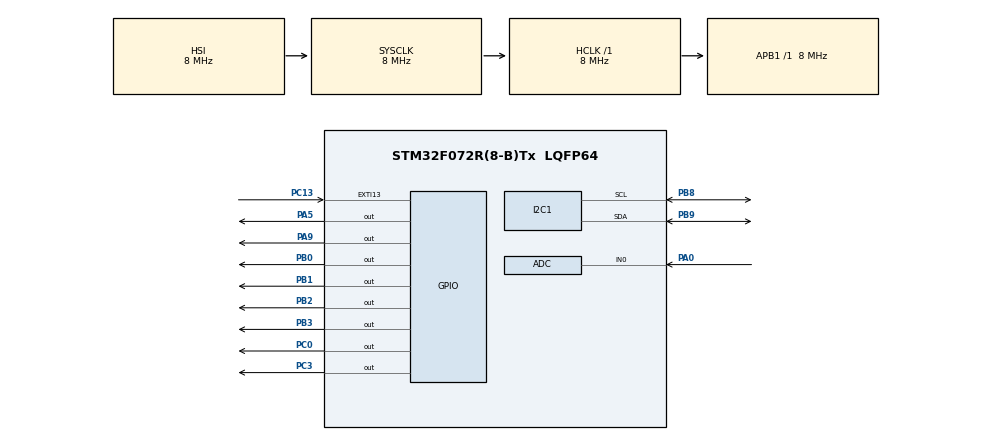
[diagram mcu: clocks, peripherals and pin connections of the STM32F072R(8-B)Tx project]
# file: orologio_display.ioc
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Mcu.Family=STM32F0
Mcu.Name=STM32F072R(8-B)Tx
Mcu.Package=LQFP64
NVIC.ADC1_COMP_IRQn=true\:0\:0\:false\:false\:true\:true\:true
NVIC.EXTI4_15_IRQn=true\:0\:0\:false\:false\:true\:true\:true
NVIC.I2C1_IRQn=true\:0\:0\:false\:false\:true\:true\:true
NVIC.TIM7_IRQn=true\:0\:0\:false\:false\:true\:true\:true
PA0.Mode=IN0
PA0.Signal=ADC_IN0
PA5.Signal=GPIO_Output
PA9.Signal=GPIO_Output
PB0.Signal=GPIO_Output
PB1.Signal=GPIO_Output
PB2.Signal=GPIO_Output
PB3.Signal=GPIO_Output
PB8.Mode=I2C
PB8.Signal=I2C1_SCL
PB9.Mode=I2C
PB9.Signal=I2C1_SDA
PC0.Signal=GPIO_Output
PC13.Signal=GPXTI13
PC3.Signal=GPIO_Output
ProjectManager.HeapSize=0x200
ProjectManager.StackSize=0x400
ProjectManager.TargetToolchain=MDK-ARM V5.27
RCC.AHBFreq_Value=8000000
RCC.APB1Freq_Value=8000000
RCC.APB1TimFreq_Value=8000000
RCC.HCLKFreq_Value=8000000
RCC.SYSCLKFreq_VALUE=8000000
TIM7.Period=8000
VP_TIM7_VS_ClockSourceINT.Mode=Enable_Timer
board=custom

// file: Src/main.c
/* USER CODE BEGIN Header */
/**
  ******************************************************************************
  * @file           : main.c
  * @brief          : Main program body
  ******************************************************************************
  * @attention
  *
  * <h2><center>&copy; Copyright (c) 2019 STMicroelectronics.
  * All rights reserved.</center></h2>
  *
  * This software component is licensed by ST under BSD 3-Clause license,
  * the "License"; You may not use this file except in compliance with the
  * License. You may obtain a copy of the License at:
  *                        opensource.org/licenses/BSD-3-Clause
  *
  ******************************************************************************
  */
/* USER CODE END Header */

#include "main.h"

/* USER CODE BEGIN PTD */
#define LCD_ADDRESS (0X3E<<1) //indirizzo lcd, ruotato a sx per lasciare bit di r/w
#define LM76_ADDRESS (0X48<<1) //indirizzo termometro

int ora[]={2,0,1,9,1,1,2,3,1,9,2,8,0,0};
int hour,resto,day,month,year;
extern int wait,loops;
char msg[]={'.','.',':','.','.',':','.','.'};
char msg_2[]={'.','.','/','.','.','/','.','.','.','.'};
char * puntatore;
int change_big_date=0;
int bisestile=0;
int lenght_da_trasmettere;
//uint8_t initdata[]={0x38,0x39,0x14,0x74,0x54,0x6F,0x0F,0x01};
char initdata[]={0x00,0x38,0x00,0x39,0x00,0x14,0x00,0x74,0x00,0x54,0x00,0x6F,0x00,0x0F,0x00,0x01};
//int j=8;
int NBYTES =(2<<16);
extern int j;
//anno, mese,giorno,ore,minuti, secondi

void incrementa(){
	if(ora[13]==9){
		//cifra meno significativa dei secondi
		ora[13]=0;
		//aumento ora[12]
		if(ora[12]==5){
			//cifra piu significativa dei secondi
			ora[12]=0;
			//aumento ora[11]
			if(ora[11]==9){
				//cifra meno significativa dei minuti
				ora[11]=0;
				//aumento ora[10]
				if(ora[10]==5){
					//cifra piu significativa dei minuti
					ora[10]=0;
					//aumento di un'ora
					hour=ora[9]+ora[8]*10;
					if(hour==23){
						ora[9]=0;
						ora[8]=0;
						//aumento di un giorno
						change_big_date=1;
						day=ora[7]+ora[6]*10;
						month=ora[5]+ora[4]*10;
						year=ora[0]*1000+ora[1]*100+ora[2]*10+ora[3];
						if((year%100==0 && year%400==0)||(year%100!=0 && year%4==0)){
							bisestile=1;
						}
						if((day==31 && (month==1|| month==3 || month==5 || month==7 || month==8 || month==10 || month==12))||
							(day==30 &&(month==4|| month==6 || month==9 || month==11))||(day==28 && month==2 && !bisestile)||
						(day==29 && month==2 && bisestile)){
							ora[6]=0;
							ora[7]=1;
							//aumento il il mese
							if(month==12){
								ora[4]=0;
								ora[5]=1;
								//aumento l'anno
								year++;
								//scompongo year su ora
								ora[0]=(int)year/1000;
								resto=year%1000;
								ora[1]=(int)(resto*10)/1000;
								resto=(resto*10)%1000;
								ora[2]=(int)(resto*10)/1000;
								resto=(resto*10)%1000;
								ora[3]=(int)(resto*10)/1000;
							}
							else{
								month++;
								ora[4]=(int)month/10;
								resto=month%10;
								ora[5]=(int)(resto*10)/10;
							}
						}
						else{
							day++;
							ora[6]=(int)day/10;
							resto=day%10;
							ora[7]=(int)(resto*10)/10;
						}
					}
					else{
						hour++;
						ora[8]=(int)hour/10;
						resto=hour%10;
						ora[9]=(int)(resto*10)/10;
					}
				}
				else{
					ora[10]++;
				}
			}
			else{
				ora[11]++;
			}
		}
		else{
			ora[12]++;
		}
	}
	else{
		ora[13]++;
	}
}

void wait_tim(){
	wait=1;
	TIM7->CNT=0;
	TIM7->SR=0;
	TIM7->CR1|=TIM_CR1_CEN;
	while(wait){}
}
/* USER CODE END PTD */

ADC_HandleTypeDef hadc;

I2C_HandleTypeDef hi2c1;

TIM_HandleTypeDef htim7;

void SystemClock_Config(void);
static void MX_GPIO_Init(void);
static void MX_ADC_Init(void);
static void MX_I2C1_Init(void);
static void MX_TIM7_Init(void);

int main(void)
{

  /* MCU Configuration--------------------------------------------------------*/

  /* Reset of all peripherals, Initializes the Flash interface and the Systick. */
  HAL_Init();

  /* Configure the system clock */
  SystemClock_Config();

  /* Initialize all configured peripherals */
  MX_GPIO_Init();
  MX_ADC_Init();
  MX_I2C1_Init();
  MX_TIM7_Init();
  /* USER CODE BEGIN 2 */

	TIM7->SR=0;
	//TIM7->DIER|=TIM_DIER_UIE;
	ADC1->IER|=ADC_IER_ADRDYIE;

	//abilito e configuro l'adc
	//se fosse già abilitato lo disabilito per fare la calibrazione
	if ((ADC1->CR & ADC_CR_ADEN) != 0)
	{
		ADC1->CR |= ADC_CR_ADDIS;
	}
	//aspetto che non sia piu enable
	while ((ADC1->CR & ADC_CR_ADEN) != 0){}
	//faccio la calibrazione
	ADC1->CR|=ADC_CR_ADCAL;
	//ed aspetto che abbia finito
	while((ADC1->CR & ADC_CR_ADCAL)==ADC_CR_ADCAL){}
	//se adrdy fosse 1 la metto a 0
	if ((ADC1->ISR & ADC_ISR_ADRDY) != 0)
	{
		ADC1->ISR |= ADC_ISR_ADRDY;
	}
	//abilito
	ADC1->CR|=ADC_CR_ADEN;

	loops=10;
	while(loops>0){
		TIM7->CNT=0;
		TIM7->SR=0;
		TIM7->CR1|=TIM_CR1_CEN;
		while(TIM7->SR==0){}
		loops--;
	}
	GPIOA->ODR |= GPIO_ODR_5;
	loops=10;
	while(loops>0){
		TIM7->CNT=0;
		TIM7->SR=0;
		TIM7->CR1|=TIM_CR1_CEN;
		while(TIM7->SR==0){}
		loops--;
	}

	msg_2[0]=ora[6]+'0';
	msg_2[1]=ora[7]+'0';
	msg_2[3]=ora[4]+'0';
	msg_2[4]=ora[5]+'0';
	msg_2[6]=ora[0]+'0';
	msg_2[7]=ora[1]+'0';
	msg_2[8]=ora[2]+'0';
	msg_2[9]=ora[3]+'0';
	puntatore=msg_2;
	lenght_da_trasmettere=10;

	I2C1->CR1|=I2C_CR1_RXIE;
	I2C1->CR1|=I2C_CR1_TXIE;
	I2C1->CR2|=I2C_CR2_AUTOEND;
	I2C1->CR1|=I2C_CR1_STOPIE;

	I2C1->CR2 |= NBYTES; //Setta il registro degli NBYTES al valore stabilito
	I2C1->CR2 |= LCD_ADDRESS; //Dà l'indirizzo dello schermo al microcontrollore
	I2C1->CR2 |= I2C_CR2_START; //Dà lo start-bit
  /* USER CODE END 2 */

  /* Infinite loop */
  /* USER CODE BEGIN WHILE */
  while (1)
  {
		/*loops=10;
		while(loops>0){
			TIM7->CNT=0;
			TIM7->SR=0;
			TIM7->CR1|=TIM_CR1_CEN;
			while(TIM7->SR==0){}
			loops--;
	}
		incrementa();*/
    /* USER CODE END WHILE */

  }
}

void SystemClock_Config(void)
{
  RCC_OscInitTypeDef RCC_OscInitStruct = {0};
  RCC_ClkInitTypeDef RCC_ClkInitStruct = {0};
  RCC_PeriphCLKInitTypeDef PeriphClkInit = {0};

  /** Initializes the CPU, AHB and APB busses clocks
  */
  RCC_OscInitStruct.OscillatorType = RCC_OSCILLATORTYPE_HSI|RCC_OSCILLATORTYPE_HSI14;
  RCC_OscInitStruct.HSIState = RCC_HSI_ON;
  RCC_OscInitStruct.HSI14State = RCC_HSI14_ON;
  RCC_OscInitStruct.HSICalibrationValue = RCC_HSICALIBRATION_DEFAULT;
  RCC_OscInitStruct.HSI14CalibrationValue = 16;
  RCC_OscInitStruct.PLL.PLLState = RCC_PLL_NONE;
  if (HAL_RCC_OscConfig(&RCC_OscInitStruct) != HAL_OK)
  {
    Error_Handler();
  }
  /** Initializes the CPU, AHB and APB busses clocks
  */
  RCC_ClkInitStruct.ClockType = RCC_CLOCKTYPE_HCLK|RCC_CLOCKTYPE_SYSCLK
                              |RCC_CLOCKTYPE_PCLK1;
  RCC_ClkInitStruct.SYSCLKSource = RCC_SYSCLKSOURCE_HSI;
  RCC_ClkInitStruct.AHBCLKDivider = RCC_SYSCLK_DIV1;
  RCC_ClkInitStruct.APB1CLKDivider = RCC_HCLK_DIV1;

  if (HAL_RCC_ClockConfig(&RCC_ClkInitStruct, FLASH_LATENCY_0) != HAL_OK)
  {
    Error_Handler();
  }
  PeriphClkInit.PeriphClockSelection = RCC_PERIPHCLK_I2C1;
  PeriphClkInit.I2c1ClockSelection = RCC_I2C1CLKSOURCE_HSI;
  if (HAL_RCCEx_PeriphCLKConfig(&PeriphClkInit) != HAL_OK)
  {
    Error_Handler();
  }
}

static void MX_ADC_Init(void)
{

  ADC_ChannelConfTypeDef sConfig = {0};

  /** Configure the global features of the ADC (Clock, Resolution, Data Alignment and number of conversion)
  */
  hadc.Instance = ADC1;
  hadc.Init.ClockPrescaler = ADC_CLOCK_ASYNC_DIV1;
  hadc.Init.Resolution = ADC_RESOLUTION_12B;
  hadc.Init.DataAlign = ADC_DATAALIGN_RIGHT;
  hadc.Init.ScanConvMode = ADC_SCAN_DIRECTION_FORWARD;
  hadc.Init.EOCSelection = ADC_EOC_SINGLE_CONV;
  hadc.Init.LowPowerAutoWait = DISABLE;
  hadc.Init.LowPowerAutoPowerOff = DISABLE;
  hadc.Init.ContinuousConvMode = DISABLE;
  hadc.Init.DiscontinuousConvMode = DISABLE;
  hadc.Init.ExternalTrigConv = ADC_SOFTWARE_START;
  hadc.Init.ExternalTrigConvEdge = ADC_EXTERNALTRIGCONVEDGE_NONE;
  hadc.Init.DMAContinuousRequests = DISABLE;
  hadc.Init.Overrun = ADC_OVR_DATA_PRESERVED;
  if (HAL_ADC_Init(&hadc) != HAL_OK)
  {
    Error_Handler();
  }
  /** Configure for the selected ADC regular channel to be converted.
  */
  sConfig.Channel = ADC_CHANNEL_0;
  sConfig.Rank = ADC_RANK_CHANNEL_NUMBER;
  sConfig.SamplingTime = ADC_SAMPLETIME_1CYCLE_5;
  if (HAL_ADC_ConfigChannel(&hadc, &sConfig) != HAL_OK)
  {
    Error_Handler();
  }

}

static void MX_I2C1_Init(void)
{

  hi2c1.Instance = I2C1;
  hi2c1.Init.Timing = 0x2000090E;
  hi2c1.Init.OwnAddress1 = 0;
  hi2c1.Init.AddressingMode = I2C_ADDRESSINGMODE_7BIT;
  hi2c1.Init.DualAddressMode = I2C_DUALADDRESS_DISABLE;
  hi2c1.Init.OwnAddress2 = 0;
  hi2c1.Init.OwnAddress2Masks = I2C_OA2_NOMASK;
  hi2c1.Init.GeneralCallMode = I2C_GENERALCALL_DISABLE;
  hi2c1.Init.NoStretchMode = I2C_NOSTRETCH_DISABLE;
  if (HAL_I2C_Init(&hi2c1) != HAL_OK)
  {
    Error_Handler();
  }
  /** Configure Analogue filter
  */
  if (HAL_I2CEx_ConfigAnalogFilter(&hi2c1, I2C_ANALOGFILTER_ENABLE) != HAL_OK)
  {
    Error_Handler();
  }
  /** Configure Digital filter
  */
  if (HAL_I2CEx_ConfigDigitalFilter(&hi2c1, 0) != HAL_OK)
  {
    Error_Handler();
  }

}

static void MX_TIM7_Init(void)
{

  TIM_MasterConfigTypeDef sMasterConfig = {0};

  htim7.Instance = TIM7;
  htim7.Init.Prescaler = 0;
  htim7.Init.CounterMode = TIM_COUNTERMODE_UP;
  htim7.Init.Period = 8000;
  htim7.Init.AutoReloadPreload = TIM_AUTORELOAD_PRELOAD_DISABLE;
  if (HAL_TIM_Base_Init(&htim7) != HAL_OK)
  {
    Error_Handler();
  }
  sMasterConfig.MasterOutputTrigger = TIM_TRGO_RESET;
  sMasterConfig.MasterSlaveMode = TIM_MASTERSLAVEMODE_DISABLE;
  if (HAL_TIMEx_MasterConfigSynchronization(&htim7, &sMasterConfig) != HAL_OK)
  {
    Error_Handler();
  }

}

static void MX_GPIO_Init(void)
{
  GPIO_InitTypeDef GPIO_InitStruct = {0};

  /* GPIO Ports Clock Enable */
  __HAL_RCC_GPIOC_CLK_ENABLE();
  __HAL_RCC_GPIOA_CLK_ENABLE();
  __HAL_RCC_GPIOB_CLK_ENABLE();

  /*Configure GPIO pin Output Level */
  HAL_GPIO_WritePin(GPIOC, GPIO_PIN_0|GPIO_PIN_3, GPIO_PIN_RESET);

  /*Configure GPIO pin Output Level */
  HAL_GPIO_WritePin(GPIOA, GPIO_PIN_5|GPIO_PIN_9, GPIO_PIN_RESET);

  /*Configure GPIO pin Output Level */
  HAL_GPIO_WritePin(GPIOB, GPIO_PIN_0|GPIO_PIN_1|GPIO_PIN_2|GPIO_PIN_3, GPIO_PIN_RESET);

  /*Configure GPIO pin : PC13 */
  GPIO_InitStruct.Pin = GPIO_PIN_13;
  GPIO_InitStruct.Mode = GPIO_MODE_IT_RISING;
  GPIO_InitStruct.Pull = GPIO_NOPULL;
  HAL_GPIO_Init(GPIOC, &GPIO_InitStruct);

  /*Configure GPIO pins : PC0 PC3 */
  GPIO_InitStruct.Pin = GPIO_PIN_0|GPIO_PIN_3;
  GPIO_InitStruct.Mode = GPIO_MODE_OUTPUT_PP;
  GPIO_InitStruct.Pull = GPIO_NOPULL;
  GPIO_InitStruct.Speed = GPIO_SPEED_FREQ_LOW;
  HAL_GPIO_Init(GPIOC, &GPIO_InitStruct);

  /*Configure GPIO pins : PA5 PA9 */
  GPIO_InitStruct.Pin = GPIO_PIN_5|GPIO_PIN_9;
  GPIO_InitStruct.Mode = GPIO_MODE_OUTPUT_PP;
  GPIO_InitStruct.Pull = GPIO_NOPULL;
  GPIO_InitStruct.Speed = GPIO_SPEED_FREQ_LOW;
  HAL_GPIO_Init(GPIOA, &GPIO_InitStruct);

  /*Configure GPIO pins : PB0 PB1 PB2 PB3 */
  GPIO_InitStruct.Pin = GPIO_PIN_0|GPIO_PIN_1|GPIO_PIN_2|GPIO_PIN_3;
  GPIO_InitStruct.Mode = GPIO_MODE_OUTPUT_PP;
  GPIO_InitStruct.Pull = GPIO_NOPULL;
  GPIO_InitStruct.Speed = GPIO_SPEED_FREQ_LOW;
  HAL_GPIO_Init(GPIOB, &GPIO_InitStruct);

  /* EXTI interrupt init*/
  HAL_NVIC_SetPriority(EXTI4_15_IRQn, 0, 0);
  HAL_NVIC_EnableIRQ(EXTI4_15_IRQn);

}

void Error_Handler(void)
{
}

/************************ (C) COPYRIGHT STMicroelectronics *****END OF FILE****/
